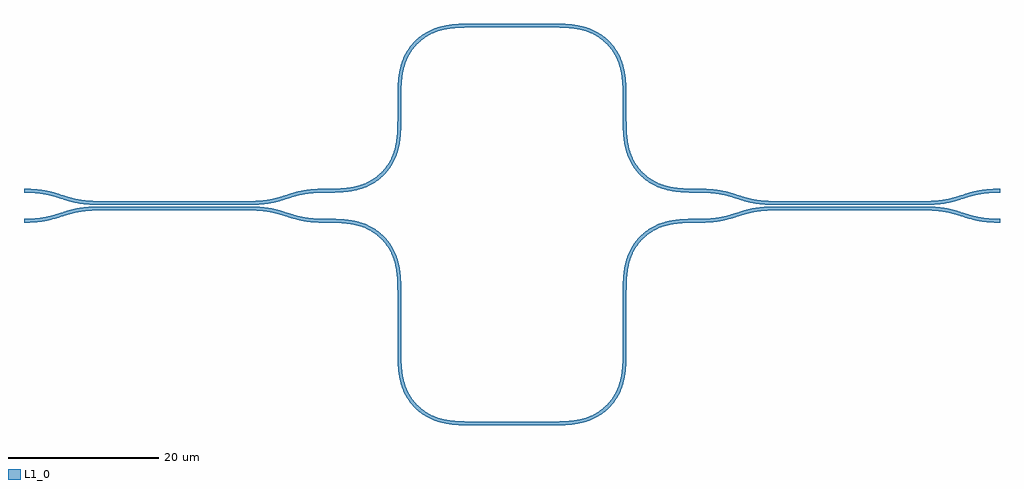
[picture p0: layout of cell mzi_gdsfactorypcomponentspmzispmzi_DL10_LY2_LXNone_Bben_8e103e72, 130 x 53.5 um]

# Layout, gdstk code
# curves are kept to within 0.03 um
from math import pi, radians
import gdstk
lib = gdstk.Library(unit=1e-6, precision=1e-09)
def R(c, l, rs):  # rectangles x0, y0, x1, y1
    for r in rs: c.add(gdstk.rectangle(r[:2], r[2:], *l))
def P(c, l, *ps):  # polygons
    for p in ps: c.add(gdstk.Polygon(p, *l))
L1_0 = (1, 0)

coupler_gdsfactorypcompo = lib.new_cell('coupler_gdsfactorypcomponentspcouplerspcoupler_G0p236_L_75dd060a')
P(coupler_gdsfactorypcompo, L1_0, [(-10,-1.882),(-10,-1.382),(-8.633,-1.335),(-7.417,-1.193),(-6.249,-0.938),(-4.05,-0.258),(-3.065,-0.019),(-1.652,0.182),(-0.303,0.248),(21.144,0.219),(22.346,0.103),(23.349,-0.08),(24.296,-0.33),(26.086,-0.893),(27.222,-1.159),(28.511,-1.326),(30,-1.382),(30,-1.882),(28.856,-1.851),(27.877,-1.764),(26.291,-1.466),(23.994,-0.762),(23.059,-0.528),(22.062,-0.364),(20.854,-0.267),(-0.297,-0.252),(-1.725,-0.327),(-3.059,-0.528),(-3.994,-0.762),(-6.034,-1.397),(-7.335,-1.686),(-8.597,-1.834)],
  [(0,0.486),(-1.403,0.534),(-2.665,0.682),(-3.796,0.925),(-6.086,1.629),(-7.126,1.877),(-8.511,2.062),(-10,2.118),(-10,2.618),(-8.597,2.57),(-7.335,2.422),(-6.204,2.179),(-3.914,1.475),(-2.874,1.227),(-1.489,1.042),(0,0.986),(21.116,1.016),(22.17,1.114),(23.24,1.303),(25.95,2.11),(27.032,2.368),(28.348,2.55),(30,2.618),(30,2.118),(28.511,2.062),(27.222,1.895),(26.086,1.629),(23.532,0.858),(22.56,0.665),(21.403,0.534),(20,0.486)])

bend_euler_gdsfactorypco = lib.new_cell('bend_euler_gdsfactorypcomponentspbendspbend_euler_RNone_387600b2')
P(bend_euler_gdsfactorypco, L1_0, [(0,-0.25),(0,0.25),(1.655,0.269),(2.881,0.353),(3.952,0.52),(4.99,0.806),(5.731,1.113),(6.431,1.505),(7.079,1.976),(7.575,2.425),(8.024,2.921),(8.495,3.569),(8.887,4.269),(9.194,5.01),(9.48,6.048),(9.647,7.119),(9.731,8.345),(9.75,10),(10.25,10),(10.235,8.468),(10.158,7.205),(10.023,6.224),(9.797,5.254),(9.457,4.312),(9.066,3.545),(8.5,2.715),(7.928,2.072),(7.285,1.5),(6.455,0.934),(5.688,0.543),(4.746,0.203),(3.776,-0.023),(2.795,-0.158),(1.532,-0.235)])

straight_gdsfactorypcomp = lib.new_cell('straight_gdsfactorypcomponentspwaveguidespstraight_L2_N_815d3d03')
R(straight_gdsfactorypcomp, L1_0, [(0,-0.25,2,0.25)])

c_straight_gdsfactorypcomp = lib.new_cell('straight_gdsfactorypcomponentspwaveguidespstraight_L7_N_ecd9aecc')
R(c_straight_gdsfactorypcomp, L1_0, [(0,-0.25,7,0.25)])

c_straight_gdsfactorypcomp_ = lib.new_cell('straight_gdsfactorypcomponentspwaveguidespstraight_L10__f2286423')
R(c_straight_gdsfactorypcomp_, L1_0, [(0,-0.25,10,0.25)])

mzi_gdsfactorypcomponent = lib.new_cell('mzi_gdsfactorypcomponentspmzispmzi_DL10_LY2_LXNone_Bben_8e103e72')
mzi_gdsfactorypcomponent.add(gdstk.Reference(coupler_gdsfactorypcompo, (0,0)))
mzi_gdsfactorypcomponent.add(gdstk.Reference(bend_euler_gdsfactorypco, (30,-1.632), x_reflection=True))
mzi_gdsfactorypcomponent.add(gdstk.Reference(bend_euler_gdsfactorypco, (40,-18.632), rotation=3*pi/2))
mzi_gdsfactorypcomponent.add(gdstk.Reference(bend_euler_gdsfactorypco, (30,2.368)))
mzi_gdsfactorypcomponent.add(gdstk.Reference(bend_euler_gdsfactorypco, (50,24.368), rotation=pi))
mzi_gdsfactorypcomponent.add(gdstk.Reference(bend_euler_gdsfactorypco, (70,14.368), rotation=pi/2))
mzi_gdsfactorypcomponent.add(gdstk.Reference(bend_euler_gdsfactorypco, (70,12.368), rotation=3*pi/2))
mzi_gdsfactorypcomponent.add(gdstk.Reference(bend_euler_gdsfactorypco, (60,-28.632)))
mzi_gdsfactorypcomponent.add(gdstk.Reference(bend_euler_gdsfactorypco, (80,-1.632), rotation=pi))
mzi_gdsfactorypcomponent.add(gdstk.Reference(straight_gdsfactorypcomp, (40,12.368), rotation=pi/2))
mzi_gdsfactorypcomponent.add(gdstk.Reference(c_straight_gdsfactorypcomp, (40,-11.632), rotation=3*pi/2))
mzi_gdsfactorypcomponent.add(gdstk.Reference(c_straight_gdsfactorypcomp_, (50,24.368)))
mzi_gdsfactorypcomponent.add(gdstk.Reference(c_straight_gdsfactorypcomp_, (50,-28.632)))
mzi_gdsfactorypcomponent.add(gdstk.Reference(coupler_gdsfactorypcompo, (110,0), rotation=pi, x_reflection=True))
mzi_gdsfactorypcomponent.add(gdstk.Reference(straight_gdsfactorypcomp, (70,12.368), rotation=pi/2))
mzi_gdsfactorypcomponent.add(gdstk.Reference(c_straight_gdsfactorypcomp, (70,-18.632), rotation=pi/2))

lib.write_gds('mzi_gdsfactorypcomponentspmzispmzi_DL10_LY2_LXNone_Bben_8e103e72.gds')
